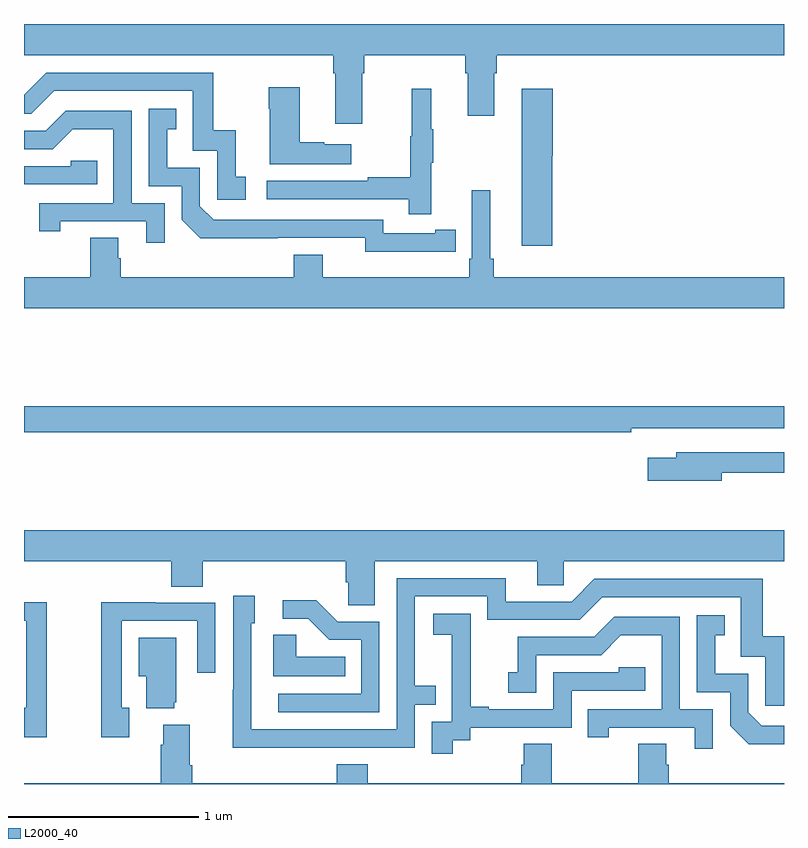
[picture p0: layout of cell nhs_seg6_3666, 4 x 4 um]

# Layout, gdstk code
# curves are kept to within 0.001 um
import gdstk
lib = gdstk.Library(unit=1e-6, precision=1e-09)
def P(c, l, *ps):  # polygons
    for p in ps: c.add(gdstk.Polygon(p, *l))
L2000_40 = (2000, 40)

nhs_seg6_3666 = lib.new_cell('nhs_seg6_3666')
P(nhs_seg6_3666, L2000_40, [(326.779,947.24),(326.792,947.24),(326.792,947.336),(327.323,947.336),(327.323,947.24),(327.335,947.24),(327.335,947.016),(327.475,947.016),(327.475,947.24),(327.488,947.24),(327.488,947.336),(329,947.336),(329,947.5),(325,947.5),(325,947.336),(326.627,947.336),(326.627,947.24),(326.639,947.24),(326.639,946.974),(326.779,946.974)],
  [(326.167,946.695),(326.114,946.695),(326.114,946.942),(325.996,946.942),(325.996,947.244),(325.116,947.244),(325,947.128),(325,947.028),(325.038,947.028),(325.158,947.148),(325.887,947.148),(325.887,946.833),(326.016,946.833),(326.016,946.575),(326.167,946.575)],
  [(326.722,946.867),(326.579,946.867),(326.579,946.877),(326.452,946.877),(326.452,947.167),(326.287,947.167),(326.287,947.054),(326.294,947.054),(326.294,946.763),(326.722,946.763)],
  [(327.143,946.771),(327.154,946.771),(327.154,946.945),(327.143,946.945),(327.143,947.158),(327.04,947.158),(327.04,946.908),(327.033,946.908),(327.033,946.694),(326.809,946.694),(326.809,946.674),(326.277,946.674),(326.277,946.578),(327.025,946.578),(327.025,946.5),(327.143,946.5)],
  [(327.779,946.806),(327.784,946.806),(327.784,947.158),(327.62,947.158),(327.62,946.332),(327.779,946.332)],
  [(327.164,946.302),(327.272,946.302),(327.272,946.418),(327.164,946.418),(327.164,946.398),(326.892,946.398),(326.892,946.47),(325.998,946.47),(325.926,946.542),(325.926,946.743),(325.753,946.743),(325.753,946.947),(325.802,946.947),(325.802,947.053),(325.656,947.053),(325.656,946.647),(325.83,946.647),(325.83,946.47),(325.928,946.373),(326.796,946.374),(326.796,946.301)],
  [(325.74,946.557),(325.566,946.557),(325.566,947.043),(325.22,947.043),(325.115,946.938),(325,946.938),(325,946.842),(325.152,946.842),(325.256,946.946),(325.47,946.946),(325.47,946.557),(325.081,946.557),(325.081,946.41),(325.192,946.41),(325.192,946.461),(325.643,946.461),(325.643,946.35),(325.74,946.35)],
  [(325.385,946.779),(325.245,946.779),(325.245,946.752),(325,946.752),(325,946.656),(325.385,946.656)],
  [(329,946.168),(327.473,946.168),(327.473,946.264),(327.454,946.264),(327.454,946.624),(327.357,946.624),(327.357,946.264),(327.344,946.264),(327.344,946.168),(326.572,946.168),(326.572,946.285),(326.42,946.285),(326.42,946.168),(325.508,946.168),(325.508,946.266),(325.495,946.266),(325.495,946.376),(325.348,946.376),(325.348,946.168),(325,946.168),(325,946.004),(329,946.004)],
  [(328.196,945.372),(329,945.372),(329,945.488),(325,945.488),(325,945.352),(328.196,945.352)],
  [(328.672,945.138),(329,945.138),(329,945.246),(328.433,945.246),(328.433,945.217),(328.284,945.217),(328.284,945.095),(328.672,945.095)],
  [(326.845,944.672),(327.701,944.672),(327.701,944.545),(327.84,944.545),(327.84,944.672),(329,944.672),(329,944.836),(325,944.836),(325,944.672),(325.775,944.672),(325.775,944.539),(325.94,944.539),(325.94,944.672),(326.693,944.672),(326.693,944.563),(326.706,944.563),(326.706,944.44),(326.845,944.44)],
  [(326.561,943.692),(327.057,943.692),(327.057,943.917),(327.167,943.917),(327.167,944.018),(327.057,944.018),(327.057,944.487),(327.438,944.487),(327.438,944.364),(327.924,944.364),(328.044,944.484),(328.773,944.484),(328.773,944.169),(328.902,944.169),(328.902,943.911),(329,943.911),(329,944.278),(328.889,944.278),(328.889,944.58),(328.002,944.58),(327.882,944.46),(327.535,944.46),(327.535,944.583),(326.961,944.583),(326.961,943.788),(326.196,943.788),(326.196,944.346),(326.215,944.346),(326.215,944.491),(326.1,944.491),(326.1,943.997),(326.098,943.997),(326.098,943.691)],
  [(326.871,944.355),(326.652,944.355),(326.539,944.468),(326.361,944.468),(326.361,944.37),(326.495,944.37),(326.606,944.259),(326.775,944.259),(326.775,943.974),(326.337,943.974),(326.337,943.878),(326.871,943.878)],
  [(325.12,944.456),(325,944.456),(325,944.358),(325.011,944.358),(325.011,943.902),(325,943.902),(325,943.746),(325.12,943.746)],
  [(325.555,943.902),(325.515,943.902),(325.515,944.358),(325.911,944.358),(325.911,944.085),(326.007,944.085),(326.007,944.454),(325.691,944.454),(325.691,944.456),(325.407,944.456),(325.407,943.746),(325.555,943.746)],
  [(327.256,943.729),(327.348,943.729),(327.348,943.797),(327.882,943.797),(327.882,943.992),(328.271,943.992),(328.271,944.115),(328.131,944.115),(328.131,944.088),(327.786,944.088),(327.786,943.893),(327.445,943.893),(327.445,943.906),(327.35,943.906),(327.35,944.189),(327.351,944.189),(327.351,944.395),(327.153,944.395),(327.153,944.285),(327.251,944.285),(327.251,944.057),(327.252,944.057),(327.252,943.827),(327.147,943.827),(327.147,943.659),(327.256,943.659)],
  [(329,943.806),(328.884,943.806),(328.812,943.878),(328.812,944.079),(328.639,944.079),(328.639,944.283),(328.688,944.283),(328.688,944.389),(328.542,944.389),(328.542,943.983),(328.716,943.983),(328.716,943.806),(328.814,943.709),(329,943.709)],
  [(328.626,943.893),(328.452,943.893),(328.452,944.379),(328.106,944.379),(328.001,944.274),(327.598,944.274),(327.598,944.089),(327.549,944.089),(327.549,943.98),(327.696,943.98),(327.696,944.178),(328.038,944.178),(328.142,944.282),(328.356,944.282),(328.356,943.893),(327.967,943.893),(327.967,943.746),(328.078,943.746),(328.078,943.797),(328.529,943.797),(328.529,943.686),(328.626,943.686)],
  [(326.69,944.17),(326.433,944.17),(326.433,944.285),(326.312,944.285),(326.312,944.066),(326.69,944.066)],
  [(325.79,943.929),(325.801,943.929),(325.801,944.269),(325.604,944.269),(325.604,944.066),(325.643,944.066),(325.643,943.898),(325.79,943.898)],
  [(329,943.504),(328.394,943.504),(328.394,943.602),(328.381,943.602),(328.381,943.712),(328.234,943.712),(328.234,943.504),(327.777,943.504),(327.777,943.712),(327.629,943.712),(327.629,943.602),(327.617,943.602),(327.617,943.504),(326.81,943.504),(326.81,943.603),(326.645,943.603),(326.645,943.504),(325.886,943.504),(325.886,943.6),(325.873,943.6),(325.873,943.813),(325.733,943.813),(325.733,943.706),(325.721,943.706),(325.721,943.504),(325,943.504),(325,943.5),(329,943.5)])

lib.write_gds('nhs_seg6_3666.gds')
